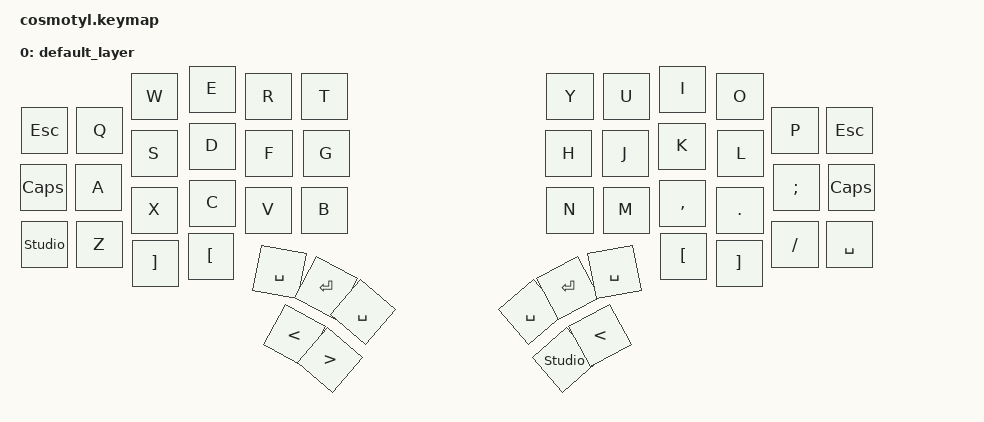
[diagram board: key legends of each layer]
#include <behaviors.dtsi>
#include <dt-bindings/zmk/keys.h>

/ {
    keymap {
        compatible = "zmk,keymap";

        default_layer {
            bindings = <&kp ESC &kp Q &kp W &kp E &kp R &kp T &kp Y &kp U &kp I &kp O &kp P &kp ESC &kp CAPS &kp A &kp S &kp D &kp F &kp G &kp H &kp J &kp K &kp L &kp SEMI &kp CAPS &studio_unlock &kp Z &kp X &kp C &kp V &kp B &kp N &kp M &kp COMMA &kp DOT &kp FSLH &kp SPACE &kp RBKT &kp LBKT &kp LBKT &kp RBKT &kp SPACE &kp ENTER &kp SPACE &kp SPACE &kp ENTER &kp SPACE &kp LT &kp GT &studio_unlock &kp LT>;
        };

        extra1 {
            status = "reserved";
        };

        extra2 {
            status = "reserved";
        };

        extra3 {
            status = "reserved";
        };
    };
};
